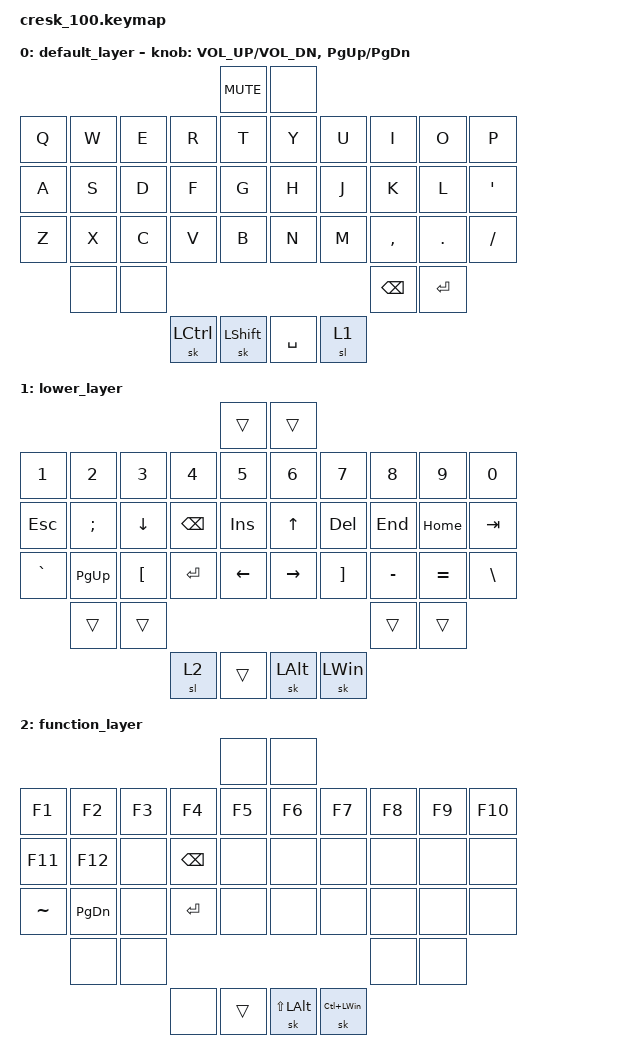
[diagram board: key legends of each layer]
/*
 * Copyright (c) 2022 The ZMK Contributors
 *
 * SPDX-License-Identifier: MIT
 */

#include <behaviors.dtsi>
#include <dt-bindings/zmk/keys.h>

&sk {
    release-after-ms = <600>;
    quick-release;
};

&sl {
    release-after-ms = <600>;
};

/ {
    keymap {
        compatible = "zmk,keymap";

        default_layer {
            bindings = <
                                       &kp C_MUTE    &none
&kp Q      &kp W     &kp E    &kp R    &kp T         &kp Y        &kp U        &kp I     &kp O     &kp P
&kp A      &kp S     &kp D    &kp F    &kp G         &kp H        &kp J        &kp K     &kp L     &kp SQT
&kp Z      &kp X     &kp C    &kp V    &kp B         &kp N        &kp M        &kp COMMA &kp DOT   &kp FSLH
           &none     &none                                                     &kp BSPC  &kp ENTER
                              &sk LCTRL  &sk LSHIFT     &kp SPACE   &sl 1
            >;

            sensor-bindings = <&inc_dec_kp C_VOL_UP C_VOL_DN
                               &inc_dec_kp PG_UP PG_DN>;
        }
;
        lower_layer {
            bindings = <
                                       &trans        &trans
&kp N1     &kp N2    &kp N3   &kp N4   &kp N5        &kp N6       &kp N7       &kp N8    &kp N9    &kp N0
&kp ESC    &kp SEMI  &kp DOWN &kp BSPC &kp INS       &kp UP       &kp DEL      &kp END   &kp HOME  &kp TAB
&kp GRAVE  &kp PG_UP &kp LBKT &kp RET  &kp LEFT      &kp RIGHT    &kp RBKT     &kp MINUS &kp EQUAL &kp BSLH
           &trans    &trans                                                    &trans    &trans
                              &sl 2    &trans        &sk LALT     &sk LWIN
            >;
        };

        function_layer {
            bindings = <
                                       &none         &none
&kp F1     &kp F2    &kp F3   &kp F4   &kp F5        &kp F6       &kp F7       &kp F8    &kp F9    &kp F10
&kp F11    &kp F12   &none    &kp BSPC &none         &none        &none        &none     &none     &none
&kp TILDE  &kp PG_DN &none    &kp RET  &none         &none        &none        &none     &none     &none
           &none     &none                                                     &none     &none
                              &none    &trans        &sk LS(LALT) &sk LC(LWIN)
            >;
        };
    };
};
